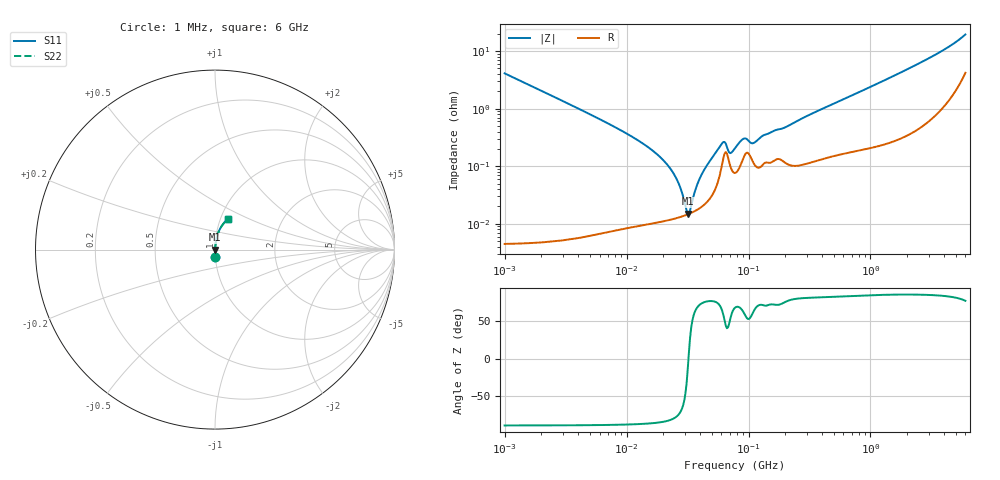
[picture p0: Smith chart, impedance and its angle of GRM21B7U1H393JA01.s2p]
!Murata Part Number: GRM21B7U1H393JA01
!These Parameters are Measured in Series Mode Connection
!Data Generated on Mar 30, 2021
!  o--ll--o
!Port1  Port2
!  o------o
!Operation Temp=25[degC], DC Bias Voltage=0[V]
!Freq. Start=1000[kHz] Stop=6[GHz] 401[Steps]
# Hz S RI R 50
!Freq.(Hz) S11(Real) S11(Imag) S21(Real) S21(Imag) S12(Real) S12(Imag) S22(Real) S22(Imag)
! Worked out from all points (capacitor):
!   401 points, 1 MHz to 6 GHz, reference 50 ohm
!   read as one part in series: C = 38.8 nF near 1.044 MHz
!   lowest |Z| = 15 mohm at 31.76 MHz (marker M1)
!   series resonance near 32.19 MHz, so ESL is about 630 pH
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1000000  0.00172 -0.0409  0.9983 0.0409  0.9983 0.0409  0.00172 -0.0409
4293785  0.000146 -0.00937  0.9999 0.00937  0.9999 0.00937  0.000146 -0.00937
1.093935e7  9.75e-05 -0.00331  0.9999 0.00331  0.9999 0.00331  9.75e-05 -0.00331
1.843659e7  0.000109 -0.0015  0.9999 0.0015  0.9999 0.0015  0.000109 -0.0015
2.194036e7  0.000116 -0.00101  0.9999 0.00101  0.9999 0.00101  0.000116 -0.00101
2.499862e7  0.000124 -0.000661  0.9999 0.000661  0.9999 0.000661  0.000124 -0.000661
2.727078e7  0.00013 -0.000433  0.9999 0.000433  0.9999 0.000433  0.00013 -0.000433
3.175522e7  0.000146 -3.55e-05  0.9999 3.55e-05  0.9999 3.55e-05  0.000146 -3.55e-05
3.316698e7  0.000151 7.96e-05  0.9998 -7.96e-05  0.9998 -7.96e-05  0.000151 7.96e-05
3.697709e7  0.00017 0.000374  0.9998 -0.000374  0.9998 -0.000374  0.00017 0.000374
4.12249e7  0.000197 0.000687  0.9998 -0.000687  0.9998 -0.000687  0.000197 0.000687
5.966657e7  0.000902 0.00219  0.9991 -0.00219  0.9991 -0.00219  0.000902 0.00219
6.368941e7  0.00166 0.00204  0.9983 -0.00204  0.9983 -0.00204  0.00166 0.00204
7.100585e7  0.000994 0.00136  0.999 -0.00136  0.999 -0.00136  0.000994 0.00136
7.745967e7  0.000766 0.00191  0.9992 -0.00191  0.9992 -0.00191  0.000766 0.00191
9.019724e7  0.00134 0.00265  0.9987 -0.00265  0.9987 -0.00265  0.00134 0.00265
1.096987e8  0.00115 0.00224  0.9989 -0.00224  0.9989 -0.00224  0.00115 0.00224
1.334167e8  0.00112 0.00327  0.9989 -0.00327  0.9989 -0.00327  0.00112 0.00327
3.325952e8  0.00124 0.00813  0.9988 -0.00813  0.9988 -0.00813  0.00124 0.00813
1.428092e9  0.00367 0.0338  0.9963 -0.0338  0.9963 -0.0338  0.00367 0.0338
3.408564e9  0.0147 0.0843  0.9853 -0.0843  0.9853 -0.0843  0.0147 0.0843
6e9  0.0708 0.1689  0.9292 -0.1689  0.9292 -0.1689  0.0708 0.1689
